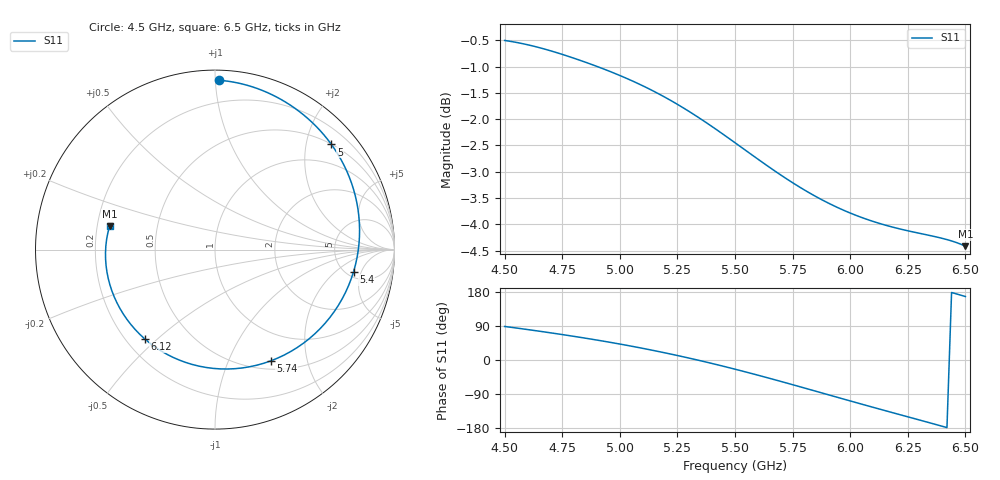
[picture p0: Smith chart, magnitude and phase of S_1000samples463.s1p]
! TOUCHSTONE file generated by CST MICROWAVE STUDIO
! Date and time: Fri Oct 28 06:15:41 2022
! Project name: L.cst
! Parameters = {Di=1.27; Epsilon_r=1.56; InnerDiameter=1.27; Length=2; Lf=10; Lg=60; OuterConductorThickness=0.2921; OuterDiameter=3.6; Wf=3; Wp=41.2; de=1.5; df=6.8; g=0.8; gx=4.12131; gy=3.02842; h=2.34; hf=1.524; px=12.3287; py=12.423; w=9.7; wx=8.20742; wy=9.39457}
! Header version: 2018
! Port assignment regex: !\s*Touchstone port\s*([0-9]+)\s*=\s*(CST MWS port|CST DS port)\s*([0-9]+|Zmin|Zmax)\s*\(\"(.*)\"\)(\s*mode\s*([0-9]+))?.*
! Touchstone port assignment:
! Touchstone port 1 = CST MWS port 1 ("")
# GHz S DB R 50
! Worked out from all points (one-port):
!   101 points, 4.5 GHz to 6.5 GHz, reference 50 ohm
!   lowest |S11| = -4.4 dB at 6.5 GHz (marker M1), VSWR 4.02, Z = 12.6 + j5.15 ohm
!   |S11| at or under -10 dB: nowhere
!   S11 on the Smith chart (normalised r, x): 4.5 GHz: 0.06, +1.02; 5 GHz: 0.51, +2.51; 5.4 GHz: 5.76, -3.68; 5.74 GHz: 0.60, -1.44; 6.12 GHz: 0.27, -0.45; 6.5 GHz: 0.25, +0.10
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4.5  -0.50 88.5
4.64  -0.63 76.9
4.76  -0.78 66.2
4.88  -0.96 54.7
5  -1.17 42.1
5.14  -1.45 25.9
5.2  -1.59 18.4
5.26  -1.74 10.5
5.34  -1.96 -0.5
5.4  -2.14 -9.1
5.5  -2.45 -24.3
5.56  -2.64 -33.7
5.62  -2.82 -43.4
5.68  -3.01 -53.4
5.74  -3.18 -63.5
5.76  -3.24 -66.9
5.82  -3.39 -77.1
5.88  -3.54 -87.4
5.94  -3.67 -97.7
6  -3.78 -108.0
6.06  -3.89 -118.2
6.12  -3.97 -128.3
6.2  -4.07 -141.6
6.26  -4.13 -151.6
6.32  -4.19 -161.5
6.38  -4.24 -171.6
6.44  -4.31 178.1
6.5  -4.41 167.5
